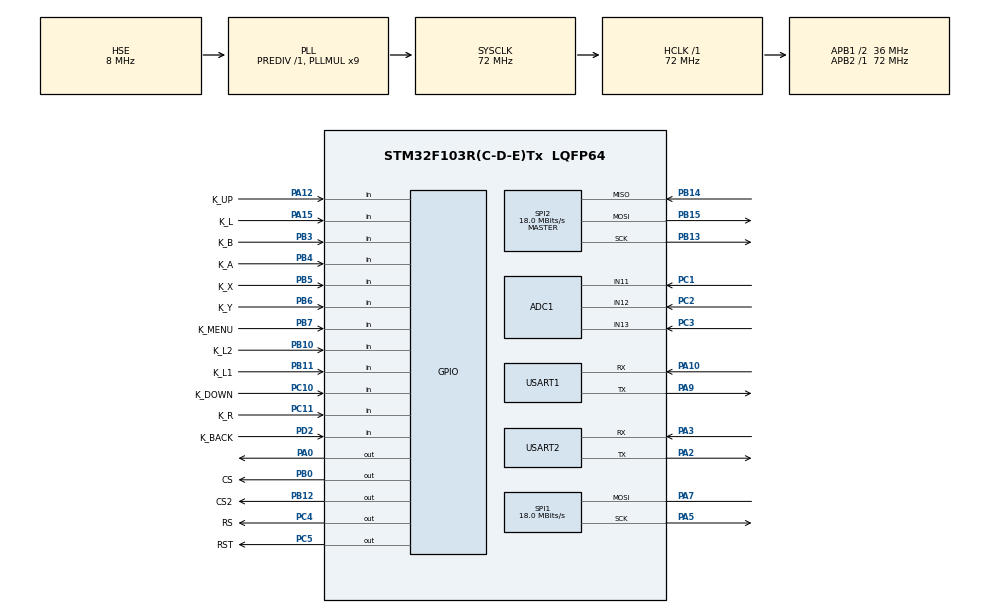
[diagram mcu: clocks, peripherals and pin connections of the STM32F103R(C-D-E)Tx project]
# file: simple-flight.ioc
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ADC1.Channel-0\#ChannelRegularConversion=ADC_CHANNEL_11
ADC1.Channel-1\#ChannelRegularConversion=ADC_CHANNEL_12
ADC1.Channel-2\#ChannelRegularConversion=ADC_CHANNEL_13
ADC1.ContinuousConvMode=DISABLE
ADC1.ExternalTrigConv=ADC_EXTERNALTRIGCONV_T3_TRGO
ADC1.NbrOfConversion=3
ADC1.NbrOfConversionFlag=1
ADC1.Rank-0\#ChannelRegularConversion=1
ADC1.Rank-1\#ChannelRegularConversion=2
ADC1.Rank-2\#ChannelRegularConversion=3
ADC1.SamplingTime-0\#ChannelRegularConversion=ADC_SAMPLETIME_55CYCLES_5
ADC1.SamplingTime-1\#ChannelRegularConversion=ADC_SAMPLETIME_55CYCLES_5
ADC1.SamplingTime-2\#ChannelRegularConversion=ADC_SAMPLETIME_55CYCLES_5
ADC1.master=1
Dma.ADC1.0.Direction=DMA_PERIPH_TO_MEMORY
Dma.ADC1.0.Instance=DMA1_Channel1
Dma.ADC1.0.MemDataAlignment=DMA_MDATAALIGN_HALFWORD
Dma.ADC1.0.MemInc=DMA_MINC_ENABLE
Dma.ADC1.0.Mode=DMA_CIRCULAR
Dma.ADC1.0.PeriphDataAlignment=DMA_PDATAALIGN_HALFWORD
Dma.ADC1.0.PeriphInc=DMA_PINC_DISABLE
Dma.ADC1.0.Priority=DMA_PRIORITY_HIGH
Dma.Request0=ADC1
Dma.Request1=SPI1_TX
Dma.SPI1_TX.1.Direction=DMA_MEMORY_TO_PERIPH
Dma.SPI1_TX.1.Instance=DMA1_Channel3
Dma.SPI1_TX.1.MemDataAlignment=DMA_MDATAALIGN_BYTE
Dma.SPI1_TX.1.MemInc=DMA_MINC_ENABLE
Dma.SPI1_TX.1.Mode=DMA_NORMAL
Dma.SPI1_TX.1.PeriphDataAlignment=DMA_PDATAALIGN_BYTE
Dma.SPI1_TX.1.PeriphInc=DMA_PINC_DISABLE
Dma.SPI1_TX.1.Priority=DMA_PRIORITY_MEDIUM
Mcu.Family=STM32F1
Mcu.Name=STM32F103R(C-D-E)Tx
Mcu.Package=LQFP64
NVIC.ADC1_2_IRQn=true\:2\:0\:true\:false\:true\:true\:true\:true
NVIC.DMA1_Channel1_IRQn=true\:2\:0\:true\:false\:true\:false\:true\:true
NVIC.DMA1_Channel3_IRQn=true\:0\:0\:false\:false\:true\:false\:true\:true
NVIC.PriorityGroup=NVIC_PRIORITYGROUP_4
NVIC.TIM3_IRQn=true\:3\:0\:true\:false\:true\:true\:true\:true
NVIC.TIM6_IRQn=true\:0\:0\:true\:false\:true\:true\:true\:true
NVIC.USART1_IRQn=true\:0\:0\:false\:false\:true\:true\:true\:true
NVIC.USART2_IRQn=true\:0\:0\:false\:false\:true\:true\:true\:true
PA0-WKUP.GPIO_Speed=GPIO_SPEED_FREQ_HIGH
PA0-WKUP.PinState=GPIO_PIN_SET
PA0-WKUP.Signal=GPIO_Output
PA10.Mode=Asynchronous
PA10.Signal=USART1_RX
PA12.GPIO_Label=K_UP
PA12.GPIO_PuPd=GPIO_PULLUP
PA12.Signal=GPIO_Input
PA13.Mode=Serial_Wire
PA13.Signal=SYS_JTMS-SWDIO
PA14.Mode=Serial_Wire
PA14.Signal=SYS_JTCK-SWCLK
PA15.GPIO_Label=K_L
PA15.GPIO_PuPd=GPIO_PULLUP
PA15.Signal=GPIO_Input
PA2.Mode=Asynchronous
PA2.Signal=USART2_TX
PA3.Mode=Asynchronous
PA3.Signal=USART2_RX
PA5.Mode=Simplex_Bidirectional_Master
PA5.Signal=SPI1_SCK
PA7.Mode=Simplex_Bidirectional_Master
PA7.Signal=SPI1_MOSI
PA9.Mode=Asynchronous
PA9.Signal=USART1_TX
PB0.GPIO_Label=CS
PB0.GPIO_Speed=GPIO_SPEED_FREQ_HIGH
PB0.PinState=GPIO_PIN_SET
PB0.Signal=GPIO_Output
PB10.GPIO_Label=K_L2
PB10.GPIO_PuPd=GPIO_PULLUP
PB10.Signal=GPIO_Input
PB11.GPIO_Label=K_L1
PB11.GPIO_PuPd=GPIO_PULLUP
PB11.Signal=GPIO_Input
PB12.GPIO_Label=CS2
PB12.GPIO_Speed=GPIO_SPEED_FREQ_HIGH
PB12.PinState=GPIO_PIN_SET
PB12.Signal=GPIO_Output
PB13.Mode=Full_Duplex_Master
PB13.Signal=SPI2_SCK
PB14.Mode=Full_Duplex_Master
PB14.Signal=SPI2_MISO
PB15.Mode=Full_Duplex_Master
PB15.Signal=SPI2_MOSI
PB3.GPIO_Label=K_B
PB3.GPIO_PuPd=GPIO_PULLUP
PB3.Signal=GPIO_Input
PB4.GPIO_Label=K_A
PB4.GPIO_PuPd=GPIO_PULLUP
PB4.Signal=GPIO_Input
PB5.GPIO_Label=K_X
PB5.GPIO_PuPd=GPIO_PULLUP
PB5.Signal=GPIO_Input
PB6.GPIO_Label=K_Y
PB6.GPIO_PuPd=GPIO_PULLUP
PB6.Signal=GPIO_Input
PB7.GPIO_Label=K_MENU
PB7.GPIO_PuPd=GPIO_PULLUP
PB7.Signal=GPIO_Input
PC1.Signal=ADCx_IN11
PC10.GPIO_Label=K_DOWN
PC10.GPIO_PuPd=GPIO_PULLUP
PC10.Signal=GPIO_Input
PC11.GPIO_Label=K_R
PC11.GPIO_PuPd=GPIO_PULLUP
PC11.Signal=GPIO_Input
PC2.Signal=ADCx_IN12
PC3.Signal=ADCx_IN13
PC4.GPIO_Label=RS
PC4.GPIO_ModeDefaultOutputPP=GPIO_MODE_OUTPUT_PP
PC4.GPIO_PuPd=GPIO_NOPULL
PC4.GPIO_Speed=GPIO_SPEED_FREQ_HIGH
PC4.PinState=GPIO_PIN_SET
PC4.Signal=GPIO_Output
PC5.GPIO_Label=RST
PC5.GPIO_Speed=GPIO_SPEED_FREQ_HIGH
PC5.PinState=GPIO_PIN_SET
PC5.Signal=GPIO_Output
PD0-OSC_IN.Mode=HSE-External-Oscillator
PD0-OSC_IN.Signal=RCC_OSC_IN
PD1-OSC_OUT.Mode=HSE-External-Oscillator
PD1-OSC_OUT.Signal=RCC_OSC_OUT
PD2.GPIO_Label=K_BACK
PD2.GPIO_PuPd=GPIO_PULLUP
PD2.Signal=GPIO_Input
ProjectManager.HeapSize=0x200
ProjectManager.StackSize=0x400
ProjectManager.TargetToolchain=STM32CubeIDE
RCC.ADCPresc=RCC_ADCPCLK2_DIV6
RCC.AHBFreq_Value=72000000
RCC.APB1CLKDivider=RCC_HCLK_DIV2
RCC.APB1Freq_Value=36000000
RCC.APB1TimFreq_Value=72000000
RCC.APB2Freq_Value=72000000
RCC.APB2TimFreq_Value=72000000
RCC.HCLKFreq_Value=72000000
RCC.PLLMUL=RCC_PLL_MUL9
RCC.PLLSourceVirtual=RCC_PLLSOURCE_HSE
RCC.SYSCLKFreq_VALUE=72000000
RCC.SYSCLKSource=RCC_SYSCLKSOURCE_PLLCLK
RCC.USBFreq_Value=72000000
SH.ADCx_IN11.0=ADC1_IN11,IN11
SH.ADCx_IN12.0=ADC1_IN12,IN12
SH.ADCx_IN13.0=ADC1_IN13,IN13
SPI1.BaudRatePrescaler=SPI_BAUDRATEPRESCALER_4
SPI1.CalculateBaudRate=18.0 MBits/s
SPI1.Direction=SPI_DIRECTION_1LINE
SPI1.Mode=SPI_MODE_MASTER
SPI1.VirtualType=VM_MASTER
SPI2.CalculateBaudRate=18.0 MBits/s
SPI2.Direction=SPI_DIRECTION_2LINES
SPI2.Mode=SPI_MODE_MASTER
SPI2.VirtualType=VM_MASTER
TIM3.Period=999
TIM3.Prescaler=720-1
TIM3.TIM_MasterOutputTrigger=TIM_TRGO_UPDATE
TIM3.TIM_MasterSlaveMode=TIM_MASTERSLAVEMODE_ENABLE
TIM6.Period=999
TIM6.Prescaler=71
USART1.VirtualMode=VM_ASYNC
USART2.VirtualMode=VM_ASYNC
VP_TIM3_VS_ClockSourceINT.Mode=Internal
VP_TIM6_VS_ClockSourceINT.Mode=Enable_Timer
board=custom

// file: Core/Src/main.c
/* USER CODE BEGIN Header */
/**
  ******************************************************************************
  * @file           : main.c
  * @brief          : Main program body
  ******************************************************************************
  * @attention
  *
  * Copyright (c) 2023 STMicroelectronics.
  * All rights reserved.
  *
  * This software is licensed under terms that can be found in the LICENSE file
  * in the root directory of this software component.
  * If no LICENSE file comes with this software, it is provided AS-IS.
  *
  ******************************************************************************
  */
/* USER CODE END Header */
#include "main.h"
#include "adc.h"
#include "dma.h"
#include "spi.h"
#include "tim.h"
#include "usart.h"
#include "gpio.h"

/* USER CODE BEGIN Includes */
#include "stdio.h"
#include "bsp.h"
#include "multi_button.h"
#include "btn.h"
#include "ui.h"
/* USER CODE END Includes */

/* USER CODE BEGIN PM */
#define SAMPLE_TIMES 10
#define CHANNELS     3
#define GAIN         0.0024414f
/* USER CODE END PM */

void SystemClock_Config(void);

/* USER CODE BEGIN PFP */
uint16_t ADC_Value[SAMPLE_TIMES][CHANNELS];

void HAL_ADC_ConvCpltCallback(ADC_HandleTypeDef *hadc)
{
    uint8_t i = 0;
    uint16_t sum1, sum2, sum3;
    float ch1_val, ch2_val, ch3_val;

    if (hadc->Instance == ADC1)
    {
        for (i = 0; i < 10; i++)
        {
            sum1 = sum1 + ADC_Value[i][0];
            sum2 = sum2 + ADC_Value[i][1];
            sum3 = sum3 + ADC_Value[i][2];
        }
        ch1_val = 100 - sum1 * GAIN;
        ch2_val = sum2 * GAIN;
        ch3_val = 100.0 - sum3 * GAIN;
        //LCD_Update();
//        U1_Printf("ch1=%.3f\r\n", ch1_val);
//        U1_Printf("ch2=%.3f\r\n", ch2_val);
//        U1_Printf("ch3=%.3f\r\n", ch3_val);
    }
}

/* USER CODE END PFP */

int main(void)
{

    /* MCU Configuration--------------------------------------------------------*/

    /* Reset of all peripherals, Initializes the Flash interface and the Systick. */
    HAL_Init();

    /* Configure the system clock */
    SystemClock_Config();

    /* Initialize all configured peripherals */
    MX_GPIO_Init();
    MX_DMA_Init();
    MX_USART1_UART_Init();
    MX_SPI1_Init();
    MX_ADC1_Init();
    MX_SPI2_Init();
    MX_USART2_UART_Init();
    MX_TIM3_Init();
    MX_TIM6_Init();
    /* USER CODE BEGIN 2 */

    My_Button_Init();
    HAL_ADC_Start_DMA(&hadc1, (uint32_t *) ADC_Value, SAMPLE_TIMES * CHANNELS);
    HAL_TIM_Base_Start_IT(&htim3);
    HAL_TIM_Base_Start_IT(&htim6);
    ST7789_Init();
    UI_Home();
    /* USER CODE END 2 */

    /* Infinite loop */
    /* USER CODE BEGIN WHILE */
    while (1)
    {
        if (U1_RX_Struct.RX_Out != U1_RX_Struct.RX_In)
        {
            //U1_Printf("Receive %d data\r\n", U1_RX_Struct.RX_Out->end - U1_RX_Struct.RX_Out->start + 1);
            HAL_UART_Transmit(&huart2, U1_RX_Struct.RX_Out->start,
                              U1_RX_Struct.RX_Out->end - U1_RX_Struct.RX_Out->start + 1, 0xff);
            U1_RX_Struct.RX_Out++;
            if (U1_RX_Struct.RX_Out == U1_RX_Struct.RX_End)
                U1_RX_Struct.RX_Out = &U1_RX_Struct.SE_Buffer[0];
        }
        if (U2_RX_Struct.RX_Out != U2_RX_Struct.RX_In)
        {
            HAL_UART_Transmit(&huart1, U2_RX_Struct.RX_Out->start,
                              U2_RX_Struct.RX_Out->end - U2_RX_Struct.RX_Out->start + 1, 0xff);
            U2_RX_Struct.RX_Out++;
            if (U2_RX_Struct.RX_Out == U2_RX_Struct.RX_End)
                U2_RX_Struct.RX_Out = &U2_RX_Struct.SE_Buffer[0];
        }
//        HAL_ADC_Start_DMA(&hadc1, (uint32_t *) ADC_Value, 3);
//        HAL_Delay(5);
//        sprintf(adc_ch1_data,"channel1:%d",ADC_Value[0]);
//        sprintf(adc_ch2_data,"channel2:%d",ADC_Value[1]);
//        sprintf(adc_ch3_data,"channel3:%d",ADC_Value[2]);
//
//        LCD_ShowString(0,0,(uint8_t*)adc_ch1_data,WHITE,DARKBLUE,24,0);
//        LCD_ShowString(0,24,(uint8_t*)adc_ch2_data,WHITE,DARKBLUE,24,0);
//        LCD_ShowString(0,48,(uint8_t*)adc_ch3_data,WHITE,DARKBLUE,24,0);
        /* USER CODE END WHILE */

    }
}

void SystemClock_Config(void)
{
    RCC_OscInitTypeDef RCC_OscInitStruct = {0};
    RCC_ClkInitTypeDef RCC_ClkInitStruct = {0};
    RCC_PeriphCLKInitTypeDef PeriphClkInit = {0};

    /** Initializes the RCC Oscillators according to the specified parameters
    * in the RCC_OscInitTypeDef structure.
    */
    RCC_OscInitStruct.OscillatorType = RCC_OSCILLATORTYPE_HSE;
    RCC_OscInitStruct.HSEState = RCC_HSE_ON;
    RCC_OscInitStruct.HSEPredivValue = RCC_HSE_PREDIV_DIV1;
    RCC_OscInitStruct.HSIState = RCC_HSI_ON;
    RCC_OscInitStruct.PLL.PLLState = RCC_PLL_ON;
    RCC_OscInitStruct.PLL.PLLSource = RCC_PLLSOURCE_HSE;
    RCC_OscInitStruct.PLL.PLLMUL = RCC_PLL_MUL9;
    if (HAL_RCC_OscConfig(&RCC_OscInitStruct) != HAL_OK)
    {
        Error_Handler();
    }

    /** Initializes the CPU, AHB and APB buses clocks
    */
    RCC_ClkInitStruct.ClockType = RCC_CLOCKTYPE_HCLK | RCC_CLOCKTYPE_SYSCLK
                                  | RCC_CLOCKTYPE_PCLK1 | RCC_CLOCKTYPE_PCLK2;
    RCC_ClkInitStruct.SYSCLKSource = RCC_SYSCLKSOURCE_PLLCLK;
    RCC_ClkInitStruct.AHBCLKDivider = RCC_SYSCLK_DIV1;
    RCC_ClkInitStruct.APB1CLKDivider = RCC_HCLK_DIV2;
    RCC_ClkInitStruct.APB2CLKDivider = RCC_HCLK_DIV1;

    if (HAL_RCC_ClockConfig(&RCC_ClkInitStruct, FLASH_LATENCY_2) != HAL_OK)
    {
        Error_Handler();
    }
    PeriphClkInit.PeriphClockSelection = RCC_PERIPHCLK_ADC;
    PeriphClkInit.AdcClockSelection = RCC_ADCPCLK2_DIV6;
    if (HAL_RCCEx_PeriphCLKConfig(&PeriphClkInit) != HAL_OK)
    {
        Error_Handler();
    }
}

void Error_Handler(void)
{
    __disable_irq();
    while (1)
    {
    }
}
